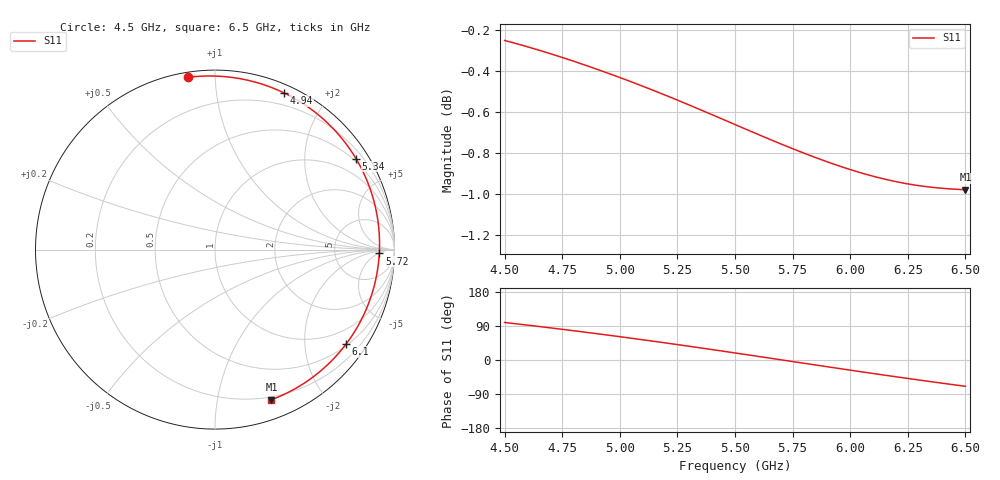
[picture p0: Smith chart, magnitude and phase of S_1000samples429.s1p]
! TOUCHSTONE file generated by CST MICROWAVE STUDIO
! Date and time: Fri Oct 28 03:43:46 2022
! Project name: L.cst
! Parameters = {Di=1.27; Epsilon_r=1.56; InnerDiameter=1.27; Length=2; Lf=10; Lg=60; OuterConductorThickness=0.2921; OuterDiameter=3.6; Wf=3; Wp=41.2; de=1.5; df=6.8; g=0.8; gx=4.90781; gy=4.86739; h=2.34; hf=1.524; px=8.31473; py=10.5529; w=9.7; wx=3.40692; wy=5.68554}
! Header version: 2018
! Port assignment regex: !\s*Touchstone port\s*([0-9]+)\s*=\s*(CST MWS port|CST DS port)\s*([0-9]+|Zmin|Zmax)\s*\(\"(.*)\"\)(\s*mode\s*([0-9]+))?.*
! Touchstone port assignment:
! Touchstone port 1 = CST MWS port 1 ("")
# GHz S DB R 50
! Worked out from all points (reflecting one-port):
!   101 points, 4.5 GHz to 6.5 GHz, reference 50 ohm
!   lowest |S11| = -1.0 dB at 6.5 GHz (marker M1), VSWR 17.77, Z = 8.63 - j71.5 ohm
!   phase of S11 starts at 99 deg and turns -168 deg over the sweep
!   S11 on the Smith chart (normalised r, x): 4.5 GHz: 0.03, +0.85; 4.94 GHz: 0.08, +1.53; 5.34 GHz: 0.42, +3.35; 5.72 GHz: 21, -6; 6.1 GHz: 0.55, -3.02; 6.5 GHz: 0.17, -1.43
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4.5  -0.25 99.0
4.58  -0.28 93.4
4.64  -0.30 89.1
4.76  -0.34 80.2
4.86  -0.38 72.6
4.94  -0.41 66.3
5  -0.43 61.5
5.06  -0.46 56.6
5.12  -0.48 51.7
5.18  -0.51 46.6
5.26  -0.55 39.8
5.34  -0.59 32.8
5.42  -0.62 25.8
5.5  -0.66 18.6
5.56  -0.69 13.2
5.62  -0.72 7.8
5.72  -0.77 -1.3
5.76  -0.78 -5.0
5.82  -0.81 -10.5
5.88  -0.83 -15.9
5.94  -0.86 -21.3
6  -0.88 -26.7
6.1  -0.91 -35.6
6.18  -0.93 -42.6
6.26  -0.95 -49.5
6.38  -0.97 -59.6
6.44  -0.97 -64.5
6.5  -0.98 -69.4
